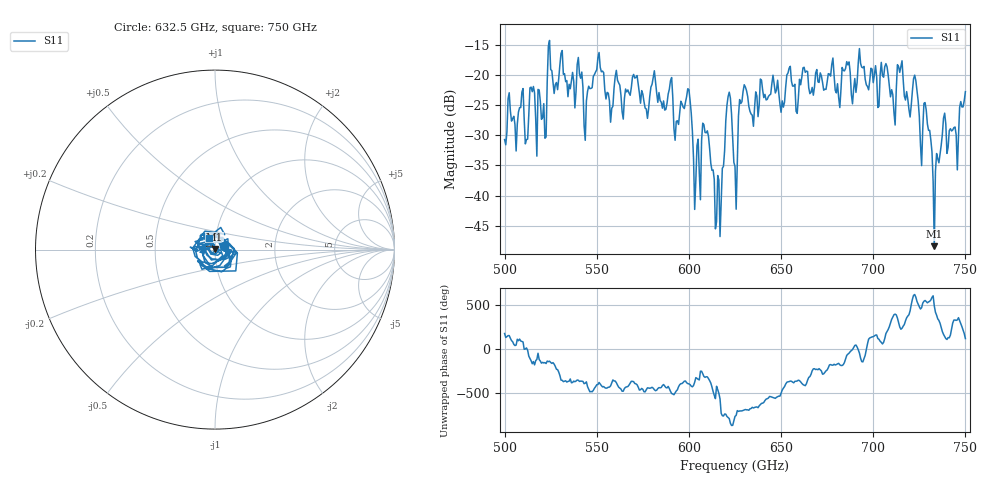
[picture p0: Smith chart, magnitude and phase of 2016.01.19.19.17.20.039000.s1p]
!Created with skrf (http://scikit-rf.org).
# GHz S RI R 50.0
!freq ReS11 ImS11
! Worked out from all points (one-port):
!   401 points, 500 GHz to 750 GHz, reference 50 ohm
!   lowest |S11| = -48.4 dB at 733.1 GHz (marker M1), VSWR 1.01, Z = 49.7 + j0.282 ohm
!   |S11| at or under -10 dB: start of sweep to end of sweep
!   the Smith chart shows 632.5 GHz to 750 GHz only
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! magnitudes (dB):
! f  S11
! 500 GHz  -30.7
! 508.8 GHz  -25.4
! 511.9 GHz  -30.7
! 515 GHz  -22.8
! 521.2 GHz  -24.7
! 524.4 GHz  -14.3
! 531.2 GHz  -15.9
! 543.8 GHz  -30.8
! 550.6 GHz  -17.1
! 562.5 GHz  -21.7
! 590 GHz  -20.9
! 593.8 GHz  -27.6
! 600 GHz  -22.4
! 604.4 GHz  -31.7
! 608.8 GHz  -29.5
! 615.6 GHz  -36.7
! 621.9 GHz  -22.8
! 625 GHz  -35.2
! 630 GHz  -21.6
! 656.2 GHz  -21.8
! 687.5 GHz  -19.6
! 706.9 GHz  -18.1
! 710.6 GHz  -23.3
! 714.4 GHz  -19.5
! 718.8 GHz  -24.0
! 728.8 GHz  -25.8
! 733.1 GHz  -48.4
! 750 GHz  -22.8
